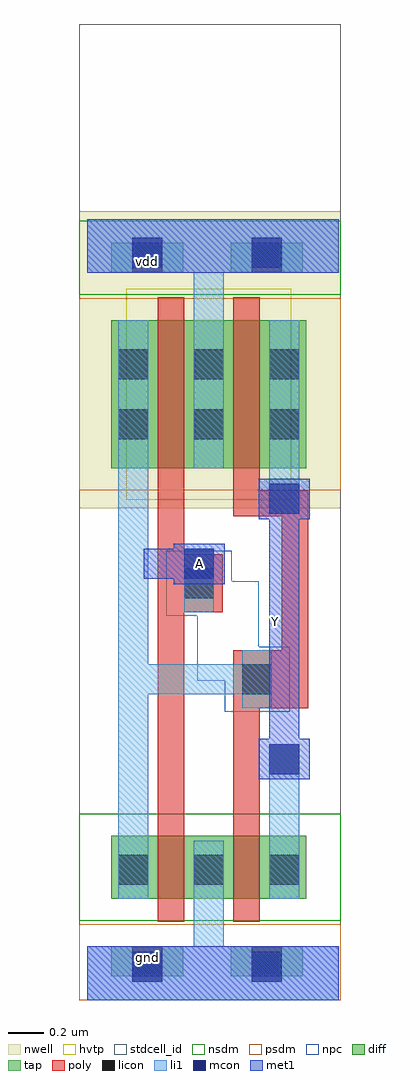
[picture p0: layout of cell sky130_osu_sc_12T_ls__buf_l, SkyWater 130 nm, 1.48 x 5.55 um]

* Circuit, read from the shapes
.subckt sky130_osu_sc_12T_ls__buf_l A Y gnd vdd
XM1 gnd A n1 gnd sky130_fd_pr__nfet_01v8 w=0.36 l=0.15
XM2 Y n1 gnd gnd sky130_fd_pr__nfet_01v8 w=0.36 l=0.15
XM3 vdd A n1 vdd sky130_fd_pr__pfet_01v8_hvt w=0.84 l=0.15
XM4 Y n1 vdd vdd sky130_fd_pr__pfet_01v8_hvt w=0.84 l=0.15
.ends

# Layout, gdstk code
import gdstk
lib = gdstk.Library(unit=1e-6, precision=1e-09)
def R(c, l, rs):  # rectangles x0, y0, x1, y1
    for r in rs: c.add(gdstk.rectangle(r[:2], r[2:], *l))
def A(c, l, x, y, w, h, nx, ny, dx, dy):  # array of equal rectangles
    R(c, l, [(x+i*dx, y+j*dy, x+i*dx+w, y+j*dy+h) for i in range(nx) for j in range(ny)])
nwell = (64, 20)
diff = (65, 20)
tap = (65, 44)
poly = (66, 20)
licon = (66, 44)
li1 = (67, 20)
mcon = (67, 44)
met1 = (68, 20)
hvtp = (78, 44)
stdcell_id = (81, 4)
nsdm = (93, 44)
psdm = (94, 20)
npc = (95, 20)

sky130_osu_sc_12t_ls__bu = lib.new_cell('sky130_osu_sc_12T_ls__buf_l')
R(sky130_osu_sc_12t_ls__bu, nwell, [(-0.045,2.795,1.44,4.485)])
R(sky130_osu_sc_12t_ls__bu, diff, [(0.135,0.575,1.245,0.935), (0.135,3.025,1.245,3.865)])
R(sky130_osu_sc_12t_ls__bu, tap, [(0.135,0.135,0.545,0.305), (0.815,0.135,1.225,0.305), (0.135,4.135,0.545,4.305), (0.815,4.135,1.225,4.305)])
R(sky130_osu_sc_12t_ls__bu, poly, [(0.4,0.445,0.55,2.205), (0.83,0.445,0.98,1.66), (0.83,1.66,1.255,1.99), (1.105,1.99,1.255,2.75), (0.4,2.205,0.77,2.535), (0.4,2.535,0.55,3.995), (0.83,2.75,1.255,2.9), (0.83,2.9,0.98,3.995)])
A(sky130_osu_sc_12t_ls__bu, licon, 0.175, 0.655, 0.17, 0.17, 3, 2, 0.43, 2.535)
A(sky130_osu_sc_12t_ls__bu, licon, 0.175, 3.53, 0.17, 0.17, 3, 1, 0.43, 0)
R(sky130_osu_sc_12t_ls__bu, licon, [(0.255,0.135,0.425,0.305), (0.935,0.135,1.105,0.305), (0.88,1.74,1.05,1.91), (0.55,2.285,0.72,2.455), (0.255,4.135,0.425,4.305), (0.935,4.135,1.105,4.305)])
R(sky130_osu_sc_12t_ls__bu, li1, [(0,0,1.43,0.305), (0.605,0.305,0.775,0.905), (0.175,0.575,0.345,1.74), (1.035,0.575,1.205,1.455), (0.88,1.66,1.05,1.74), (0.175,1.74,1.05,1.91), (0.175,1.91,0.345,3.865), (0.88,1.91,1.05,1.99), (0.55,2.205,0.72,2.565), (1.035,2.765,1.205,3.865), (0.605,3.025,0.775,4.135), (0,4.135,1.43,4.44)])
R(sky130_osu_sc_12t_ls__bu, mcon, [(0.255,0.105,0.425,0.275), (0.935,0.105,1.105,0.275), (1.035,1.285,1.205,1.455), (0.55,2.395,0.72,2.565), (1.035,2.765,1.205,2.935), (0.255,4.165,0.425,4.335), (0.935,4.165,1.105,4.335)])
R(sky130_osu_sc_12t_ls__bu, met1, [(0,0,1.43,0.305), (0.975,1.255,1.265,1.485), (1.035,1.485,1.205,2.735), (0.49,2.365,0.78,2.395), (0.32,2.395,0.78,2.565), (0.49,2.565,0.78,2.595), (0.975,2.735,1.265,2.965), (0,4.135,1.43,4.44)])
R(sky130_osu_sc_12t_ls__bu, hvtp, [(0.22,2.845,1.16,4.045)])
R(sky130_osu_sc_12t_ls__bu, stdcell_id, [(-0.045,0,1.44,5.55)])
R(sky130_osu_sc_12t_ls__bu, nsdm, [(-0.045,0.45,1.44,1.06), (-0.045,4.01,1.44,4.43)])
R(sky130_osu_sc_12t_ls__bu, psdm, [(-0.045,0,1.44,0.43), (-0.045,2.9,1.44,3.99)])
R(sky130_osu_sc_12t_ls__bu, npc, [(0.78,1.64,1.15,1.815), (0.625,1.815,1.15,2.01), (0.625,2.01,0.975,2.185), (0.45,2.185,0.975,2.38), (0.45,2.38,0.82,2.555)])
sky130_osu_sc_12t_ls__bu.add(gdstk.Label('gnd', (0.34,0.24), layer=68, texttype=16))
sky130_osu_sc_12t_ls__bu.add(gdstk.Label('vdd', (0.34,4.2), layer=68, texttype=16))
sky130_osu_sc_12t_ls__bu.add(gdstk.Label('Y', (1.07,2.15), layer=68, texttype=5))
sky130_osu_sc_12t_ls__bu.add(gdstk.Label('A', (0.635,2.48), layer=68, texttype=5))

lib.write_gds('sky130_osu_sc_12T_ls__buf_l.gds')
